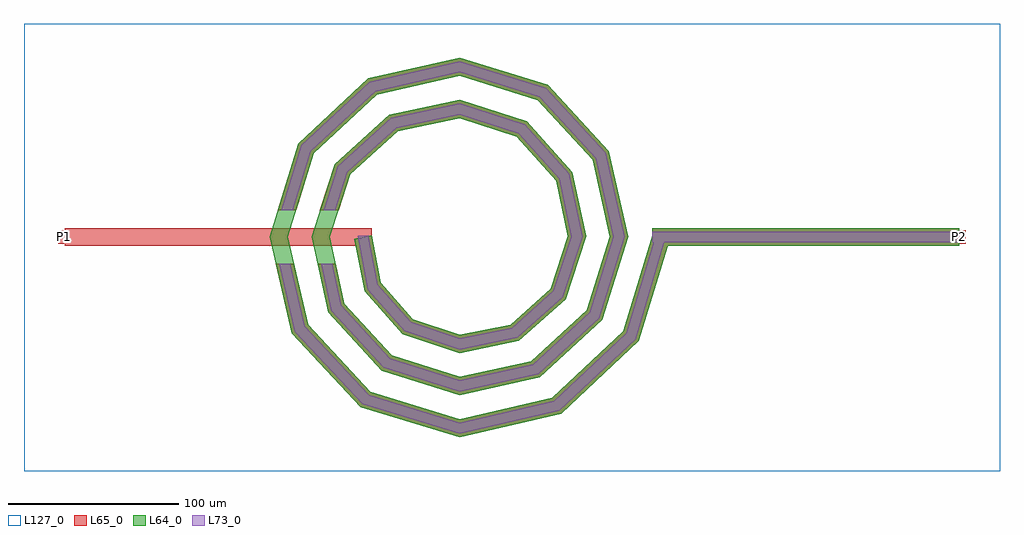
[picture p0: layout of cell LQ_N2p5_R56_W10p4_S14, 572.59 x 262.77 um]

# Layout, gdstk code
import gdstk
lib = gdstk.Library(unit=1e-6, precision=1e-09)
def R(c, l, rs):  # rectangles x0, y0, x1, y1
    for r in rs: c.add(gdstk.rectangle(r[:2], r[2:], *l))
def P(c, l, *ps):  # polygons
    for p in ps: c.add(gdstk.Polygon(p, *l))
L64_0 = (64, 0)
L65_0 = (65, 0)
L73_0 = (73, 0)
L127_0 = (127, 0)

lq_n2p5_r56_w10p4_s14 = lib.new_cell('LQ_N2p5_R56_W10p4_S14')
R(lq_n2p5_r56_w10p4_s14, L64_0, [(113.145,-5.2,293.145,5.2)])
P(lq_n2p5_r56_w10p4_s14, L64_0, [(-46.007,-26.968),(-27.397,-48.133),(0.328,-57.439),(30.023,-51.365),(53.459,-30.509),(63.608,0.299),(56.722,33.084),(33.616,58.789),(0.275,69.777),(-36.148,62.076),(-64.121,36.719),(-75.946,0.254),(-67.428,-39.216),(-39.82,-69.454),(0.236,-82.116),(42.286,-72.78),(74.789,-42.919),(88.285,0.22),(78.13,45.358),(46.016,80.125),(0.207,94.455),(-48.431,83.48),(-85.462,49.112),(-100.625,0.195),(-88.829,-51.506),(-52.206,-90.799),(0.184,-106.794),(54.582,-94.177),(96.138,-55.3),(113.369,1.509),(123.321,-1.509),(105.28,-60.989),(59.65,-103.678),(0.184,-117.556),(-57.912,-99.931),(-98.339,-56.556),(-111.385,0.195),(-94.582,54.836),(-53.46,93.001),(0.207,105.215),(51.762,89.232),(87.664,50.364),(99.044,0.22),(83.881,-48.689),(47.266,-82.328),(0.236,-92.874),(-45.618,-78.529),(-76.992,-44.165),(-86.703,0.254),(-73.175,42.548),(-41.063,71.658),(0.275,80.532),(39.482,67.82),(66.325,37.957),(74.361,0.299),(62.462,-36.419),(34.848,-60.994),(0.328,-68.189),(-33.36,-57.102),(-55.666,-31.733),(-61.745,-1.009),(-51.543,1.009)])
R(lq_n2p5_r56_w10p4_s14, L65_0, [(-231.444,-5.2,-51.444,5.2), (113.145,-5.2,293.145,5.2), (-235.444,-4,-227.444,4), (289.145,-4,297.145,4)])
P(lq_n2p5_r56_w10p4_s14, L65_0, [(-88.829,-51.506),(-52.207,-90.799),(0.184,-106.794),(54.582,-94.177),(96.138,-55.3),(113.369,1.509),(123.321,-1.509),(105.28,-60.989),(59.65,-103.678),(0.184,-117.556),(-57.912,-99.931),(-98.339,-56.556),(-107.754,-15.6),(-97.083,-15.6)],
  [(-67.428,-39.216),(-39.82,-69.454),(0.236,-82.116),(42.286,-72.78),(74.789,-42.919),(88.285,0.221),(78.13,45.358),(46.016,80.125),(0.207,94.455),(-48.431,83.48),(-85.462,49.112),(-95.767,15.6),(-106.648,15.6),(-94.582,54.836),(-53.46,93.001),(0.207,105.215),(51.762,89.232),(87.664,50.364),(99.044,0.221),(83.881,-48.689),(47.266,-82.328),(0.236,-92.874),(-45.618,-78.529),(-76.992,-44.165),(-83.237,-15.6),(-72.591,-15.6)],
  [(-27.397,-48.133),(0.329,-57.439),(30.023,-51.365),(53.459,-30.509),(63.608,0.299),(56.722,33.084),(33.616,58.789),(0.275,69.777),(-36.148,62.076),(-64.121,36.719),(-70.875,15.6),(-81.794,15.6),(-73.175,42.548),(-41.063,71.658),(0.275,80.532),(39.482,67.82),(66.325,37.957),(74.361,0.299),(62.462,-36.419),(34.848,-60.994),(0.329,-68.189),(-33.36,-57.102),(-55.666,-31.733),(-61.745,-1.009),(-51.543,1.009),(-46.007,-26.968)])
R(lq_n2p5_r56_w10p4_s14, L73_0, [(113.145,-3.2,293.145,3.2)])
P(lq_n2p5_r56_w10p4_s14, L73_0, [(-90.658,-52.477),(-53.304,-92.556),(0.113,-108.864),(55.557,-96.004),(97.896,-56.394),(115.283,0.929),(121.408,0.929),(103.522,-59.895),(58.675,-101.851),(0.113,-115.486),(-56.815,-98.175),(-96.511,-55.585),(-105.702,-15.6),(-99.135,-15.6)],
  [(-69.268,-40.168),(-40.935,-71.199),(0.145,-84.184),(43.243,-74.616),(76.537,-44.029),(90.354,0.136),(79.964,46.32),(47.121,81.876),(0.127,96.524),(-49.398,85.311),(-87.216,50.213),(-97.86,15.6),(-104.556,15.6),(-92.828,53.736),(-52.493,91.17),(0.127,103.146),(50.657,87.481),(85.831,49.401),(96.975,0.136),(82.132,-47.579),(46.308,-80.491),(0.145,-90.805),(-44.503,-76.784),(-75.153,-43.214),(-81.19,-15.6),(-74.638,-15.6)],
  [(-28.544,-49.858),(0.202,-59.506),(30.951,-53.217),(55.191,-31.645),(65.676,0.184),(58.568,34.021),(34.744,60.526),(0.169,71.845),(-37.093,63.918),(-65.862,37.84),(-72.975,15.6),(-79.695,15.6),(-71.434,41.427),(-40.118,69.815),(0.169,78.464),(38.354,66.083),(64.478,37.02),(72.293,0.184),(60.731,-35.282),(33.92,-59.142),(0.202,-66.122),(-32.213,-55.377),(-53.808,-30.816),(-59.783,0.621),(-53.505,0.621),(-47.864,-27.884)])
R(lq_n2p5_r56_w10p4_s14, L127_0, [(-255.444,-137.556,317.145,125.215)])
lq_n2p5_r56_w10p4_s14.add(gdstk.Label('P2', (293.145,0), layer=65, texttype=0))
lq_n2p5_r56_w10p4_s14.add(gdstk.Label('P1', (-231.444,0), layer=65, texttype=0))
lq_n2p5_r56_w10p4_s14.add(gdstk.Label('P2', (297.145,0), layer=145, texttype=0))
lq_n2p5_r56_w10p4_s14.add(gdstk.Label('P1', (-235.444,0), layer=145, texttype=0))

lib.write_gds('LQ_N2p5_R56_W10p4_S14.gds')
